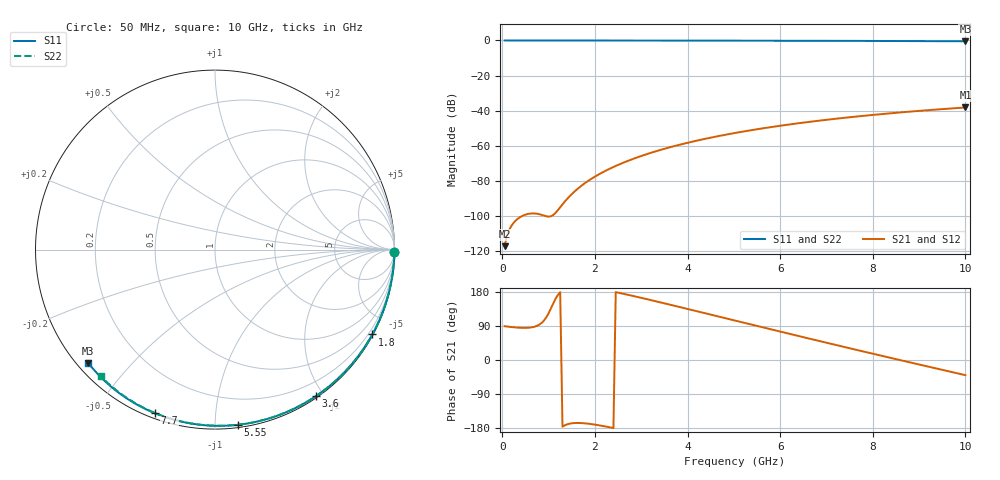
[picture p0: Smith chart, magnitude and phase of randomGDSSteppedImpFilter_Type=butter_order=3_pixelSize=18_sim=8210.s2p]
! freq	dB(S11)	phase(S11)	dB(S12)	phase(S12)
!  dB(S21)	phase(S21)	dB(S22)	phase(S22)
!S-par simulation data
#  GHz  S  DB  R 50
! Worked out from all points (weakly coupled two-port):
!   200 points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, 50 MHz to 10 GHz, reference 50 ohm
!   highest |S21| = -38.21 dB at 10 GHz (marker M1); lowest = -117.3 dB at 50 MHz (marker M2)
!   lowest |S11| = -0.5 dB at 10 GHz (marker M3), VSWR 37.07, Z = 1.55 - j19.1 ohm
!   |S11| at or under -10 dB: nowhere
!   |S22| runs from -0.4 to 0.0 dB; largest |S21 - S12| = 0
!   S11 on the Smith chart (normalised r, x): 50 MHz: open; 1.8 GHz: 0.03, -3.96; 3.6 GHz: 0.02, -1.91; 5.55 GHz: 0.02, -1.14; 7.7 GHz: 0.02, -0.70; 10 GHz: 0.03, -0.38
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0.05  -0.00 -0.8  -117.28 89.2  -117.28 89.2  -0.00 -0.8
0.45  -0.01 -7.2  -99.81 84.7  -99.81 84.7  -0.01 -6.9
0.9  -0.02 -14.3  -99.84 104.1  -99.84 104.1  -0.02 -13.7
1.75  -0.04 -27.6  -82.01 -166.7  -82.01 -166.7  -0.03 -26.3
1.8  -0.04 -28.3  -81.05 -167.3  -81.05 -167.3  -0.03 -27.1
1.85  -0.04 -29.1  -80.14 -168.0  -80.14 -168.0  -0.04 -27.8
2.15  -0.04 -33.7  -75.40 -173.6  -75.40 -173.6  -0.04 -32.2
2.35  -0.05 -36.8  -72.74 -178.4  -72.74 -178.4  -0.05 -35.1
2.55  -0.05 -39.8  -70.38 176.5  -70.38 176.5  -0.05 -38.0
2.95  -0.06 -45.8  -66.32 165.5  -66.32 165.5  -0.06 -43.7
3.4  -0.07 -52.4  -62.52 152.5  -62.52 152.5  -0.07 -50.1
3.6  -0.07 -55.3  -61.03 146.6  -61.03 146.6  -0.07 -52.9
3.9  -0.08 -59.7  -58.98 137.7  -58.98 137.7  -0.08 -57.0
4.3  -0.09 -65.4  -56.53 125.8  -56.53 125.8  -0.09 -62.5
5.05  -0.12 -75.8  -52.62 103.4  -52.62 103.4  -0.11 -72.5
5.55  -0.14 -82.6  -50.41 88.4  -50.41 88.4  -0.13 -79.0
6.1  -0.16 -89.9  -48.25 72.1  -48.25 72.1  -0.15 -86.0
6.7  -0.19 -97.6  -46.18 54.3  -46.18 54.3  -0.18 -93.4
7.7  -0.25 -110.2  -43.23 25.2  -43.23 25.2  -0.24 -105.5
8.35  -0.30 -118.2  -41.60 6.5  -41.60 6.5  -0.29 -113.1
9.2  -0.38 -128.5  -39.73 -17.6  -39.73 -17.6  -0.36 -122.9
10  -0.47 -138.2  -38.21 -40.0  -38.21 -40.0  -0.44 -132.0
